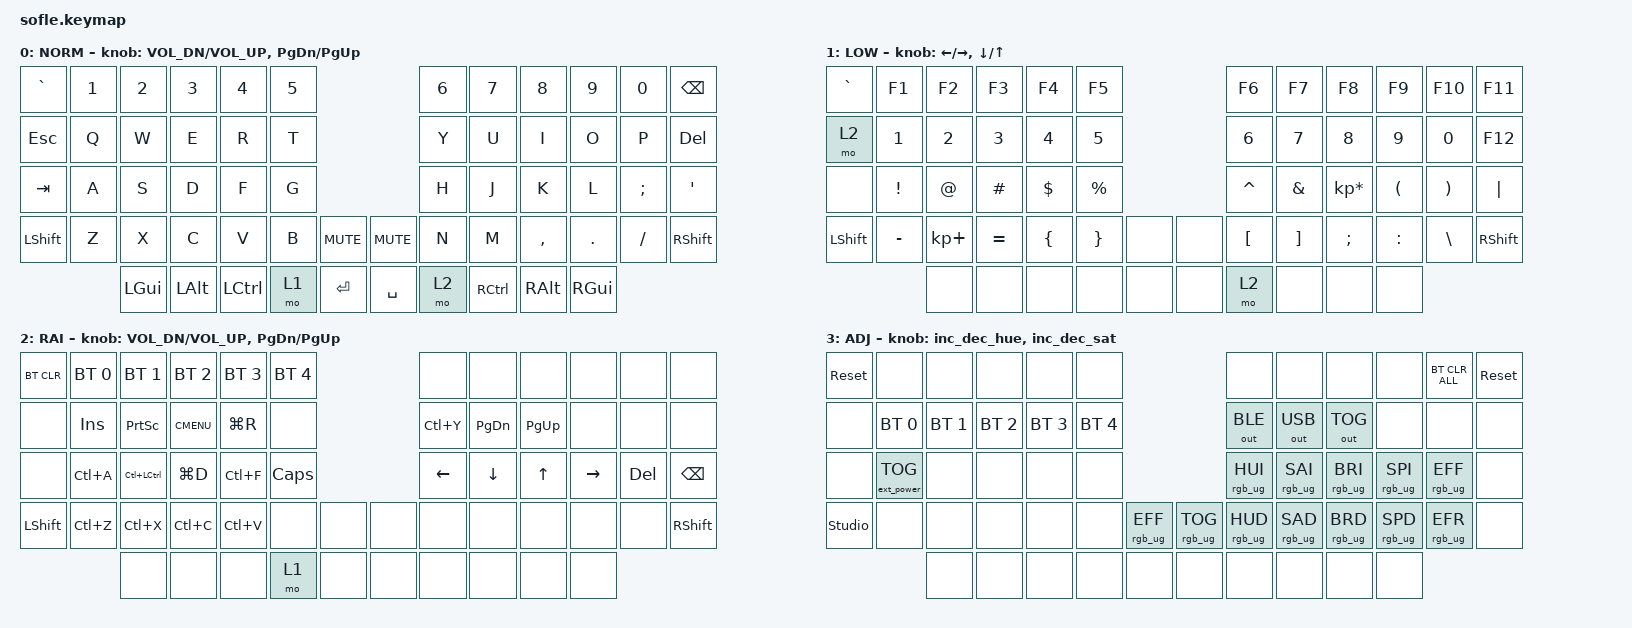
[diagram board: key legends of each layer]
/*
 * Copyright (c) 2020 The ZMK Contributors
 *
 * SPDX-License-Identifier: MIT
 */

#include <behaviors.dtsi>
#include <dt-bindings/zmk/bt.h>
#include <dt-bindings/zmk/ext_power.h>
#include <dt-bindings/zmk/keys.h>
#include <dt-bindings/zmk/outputs.h>
#include <dt-bindings/zmk/pointing.h>
#include <dt-bindings/zmk/rgb.h>

/ {
    behaviors {
        inc_dec_msc: inc_dec_msc {
            compatible = "zmk,behavior-sensor-rotate";
            label = "INC_DEC_MSC";
            #sensor-binding-cells = <0>;
            bindings = <&msc SCRL_DOWN>, <&msc SCRL_UP>;

            tap-ms = <50>;
        };

        inc_dec_hue: inc_dec_hue {
            compatible = "zmk,behavior-sensor-rotate";
            label = "INC_DEC_HUE";
            #sensor-binding-cells = <0>;
            bindings = <&rgb_ug RGB_HUD>, <&rgb_ug RGB_HUI>;
        };

        inc_dec_sat: inc_dec_sat {
            compatible = "zmk,behavior-sensor-rotate";
            label = "INC_DEC_SAT";
            #sensor-binding-cells = <0>;
            bindings = <&rgb_ug RGB_SAD>, <&rgb_ug RGB_SAI>;
        };

        lower_td: lower_td {
            compatible = "zmk,behavior-tap-dance";
            label = "LOWER_TD";
            #binding-cells = <0>;
            bindings = <&hold_tap_low 1 1>, <&to 0>;

            tapping-term-ms = <500>;
        };

        raise_td: raise_td {
            compatible = "zmk,behavior-tap-dance";
            label = "RAISE_TD";
            #binding-cells = <0>;
            bindings = <&hold_tap_low 2 2>, <&to 0>;

            tapping-term-ms = <500>;
        };

        msc_scr5: msc_scr5 {
            compatible = "zmk,behavior-sensor-rotate";
            label = "MSC_SCR5";
            #sensor-binding-cells = <0>;
            bindings = <&msc MOVE_Y(-5)>, <&msc MOVE_Y(5)>;
        };

        hold_tap_low: hold_tap_low {
            compatible = "zmk,behavior-hold-tap";
            label = "HOLD_TAP_LOW";
            bindings = <&mo>, <&tog>;

            #binding-cells = <2>;
            tapping-term-ms = <50>;
            hold-while-undecided;
        };
    };

    combos { compatible = "zmk,combos"; };

    keymap {
        compatible = "zmk,keymap";

        default_layer {
            display-name = "NORM";

            // ------------------------------------------------------------------------------------------------------------
            // |  `    |  1  |  2  |  3   |  4   |  5   |                   |  6   |  7    |  8    |  9   |   0   |       |
            // |  ESC  |  Q  |  W  |  E   |  R   |  T   |                   |  Y   |  U    |  I    |  O   |   P   | BKSPC |
            // |  TAB  |  A  |  S  |  D   |  F   |  G   |                   |  H   |  J    |  K    |  L   |   ;   |   '   |
            // | SHIFT |  Z  |  X  |  C   |  V   |  B   |  MUTE  |  |       |  N   |  M    |  ,    |  .   |   /   | SHIFT |
            //               | GUI | ALT  | CTRL | LOWER|  ENTER |  | SPACE | RAISE| CTRL  | ALT   | GUI  |

            bindings = <
&kp GRAVE  &kp N1  &kp N2    &kp N3    &kp N4     &kp N5                            &kp N6  &kp N7     &kp N8     &kp N9    &kp N0    &kp BACKSPACE
&kp ESC    &kp Q   &kp W     &kp E     &kp R      &kp T                             &kp Y   &kp U      &kp I      &kp O     &kp P     &kp DELETE
&kp TAB    &kp A   &kp S     &kp D     &kp F      &kp G                             &kp H   &kp J      &kp K      &kp L     &kp SEMI  &kp SQT
&kp LSHFT  &kp Z   &kp X     &kp C     &kp V      &kp B   &kp C_MUTE    &kp C_MUTE  &kp N   &kp M      &kp COMMA  &kp DOT   &kp FSLH  &kp RSHFT
                   &kp LGUI  &kp LALT  &kp LCTRL  &mo 1   &kp RET       &kp SPACE   &mo 2   &kp RCTRL  &kp RALT   &kp RGUI
            >;

            sensor-bindings =
                <&inc_dec_kp C_VOL_DN C_VOL_UP>,
                <&inc_dec_kp PG_DN PG_UP>;
        };

        lower_layer {
            display-name = "LOW";

            // ------------------------------------------------------------------------------------------------------------
            // | `     |  F1 |  F2 |  F3  |  F4  |  F5  |                   |  F6  |  F7   |  F8   |  F9  |  F10  |  F11  |
            // | RAISE |   1 |   2 |   3  |   4  |   5  |                   |   6  |   7   |   8   |   9  |    0  |  F12  |
            // |       |  !  |  @  |  #   |  $   |  %   |                   |  ^   |  &    |  *    |  (   |   )   |   |   |
            // |       |  =  |  -  |  +   |  {   |  }   |        |  |       |  [   |  ]    |  ;    |  :   |   \   |       |
            //               |     |      |      |      |        |  |       |      |       |       |      |

            bindings = <
&kp GRAVE       &kp F1     &kp F2       &kp F3     &kp F4    &kp F5                     &kp F6     &kp F7    &kp F8           &kp F9     &kp F10   &kp F11
&mo 2           &kp N1     &kp N2       &kp N3     &kp N4    &kp N5                     &kp N6     &kp N7    &kp N8           &kp N9     &kp N0    &kp F12
&none           &kp EXCL   &kp AT       &kp HASH   &kp DLLR  &kp PRCNT                  &kp CARET  &kp AMPS  &kp KP_MULTIPLY  &kp LPAR   &kp RPAR  &kp PIPE
&kp LEFT_SHIFT  &kp MINUS  &kp KP_PLUS  &kp EQUAL  &kp LBRC  &kp RBRC   &none    &none  &kp LBKT   &kp RBKT  &kp SEMI         &kp COLON  &kp BSLH  &kp RSHIFT
                           &none        &none      &none     &none      &none    &none  &mo 2      &none     &none            &none
            >;

            sensor-bindings =
                <&inc_dec_kp LEFT_ARROW RIGHT>,
                <&inc_dec_kp DOWN_ARROW UP_ARROW>;
        };

        raise_layer {
            display-name = "RAI";

            // ------------------------------------------------------------------------------------------------------------
            // |BTCLR| BT1  | BT2  |  BT3  |  BT4  |  BT5 |                |      |      |       |      |       |       |
            // |     | INS  | PSCR | GUI   |       |      |                | PGUP |      |       |      |       |       |
            // |     | ALT  | CTRL | SHIFT |       | CAPS |                |  <-  |   v  |   ^   |  ->  |  DEL  | BKSPC |
            // |     | UNDO | CUT  | COPY  | PASTE |      |      |  |      |      |      |       |      |       |       |
            //              |      |       |       |      |      |  |      |      |      |       |      |

            bindings = <
&bt BT_CLR      &bt BT_SEL 0  &bt BT_SEL 1   &bt BT_SEL 2  &bt BT_SEL 3  &bt BT_SEL 4                  &none      &none          &none        &none      &none    &none
&none           &kp INS       &kp PSCRN      &kp K_CMENU   &kp LG(R)     &none                         &kp LC(Y)  &kp PAGE_DOWN  &kp PAGE_UP  &none      &none    &none
&none           &kp LC(A)     &kp LC(LCTRL)  &kp LG(D)     &kp LC(F)     &kp CLCK                      &kp LEFT   &kp DOWN       &kp UP       &kp RIGHT  &kp DEL  &kp BSPC
&kp LEFT_SHIFT  &kp LC(Z)     &kp LC(X)      &kp LC(C)     &kp LC(V)     &none         &none    &none  &none      &none          &none        &none      &none    &kp RIGHT_SHIFT
                              &none          &none         &none         &mo 1         &none    &none  &none      &none          &none        &none
            >;

            sensor-bindings =
                <&inc_dec_kp C_VOL_DN C_VOL_UP>,
                <&inc_dec_kp PG_DN PG_UP>;
        };

        adjust_layer {
            display-name = "ADJ";
            bindings = <
&sys_reset      &none              &none         &none         &none         &none                                             &none            &none            &none            &none            &bt BT_CLR_ALL   &sys_reset
&none           &bt BT_SEL 0       &bt BT_SEL 1  &bt BT_SEL 2  &bt BT_SEL 3  &bt BT_SEL 4                                      &out OUT_BLE     &out OUT_USB     &out OUT_TOG     &none            &none            &none
&none           &ext_power EP_TOG  &none         &none         &none         &none                                             &rgb_ug RGB_HUI  &rgb_ug RGB_SAI  &rgb_ug RGB_BRI  &rgb_ug RGB_SPI  &rgb_ug RGB_EFF  &none
&studio_unlock  &none              &none         &none         &none         &none         &rgb_ug RGB_EFF    &rgb_ug RGB_TOG  &rgb_ug RGB_HUD  &rgb_ug RGB_SAD  &rgb_ug RGB_BRD  &rgb_ug RGB_SPD  &rgb_ug RGB_EFR  &none
                                   &none         &none         &none         &none         &none              &none            &none            &none            &none            &none
            >;

            sensor-bindings = <&inc_dec_hue>, <&inc_dec_sat>;
        };
    };

    conditional_layers {
        compatible = "zmk,conditional-layers";

        adj {
            if-layers = <1 2>;
            then-layer = <3>;
        };
    };
};
